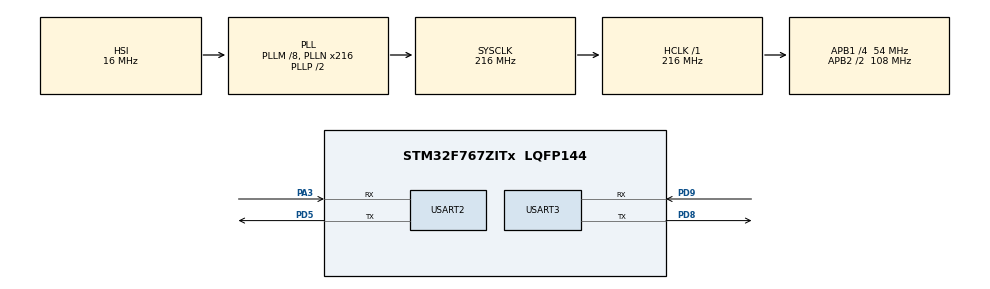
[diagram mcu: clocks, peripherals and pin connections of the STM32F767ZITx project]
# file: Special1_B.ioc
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CORTEX_M7.default_mode_Activation=1
Mcu.Family=STM32F7
Mcu.Name=STM32F767ZITx
Mcu.Package=LQFP144
NVIC.PriorityGroup=NVIC_PRIORITYGROUP_4
NVIC.USART2_IRQn=true\:0\:0\:false\:false\:true\:true\:true\:true
NVIC.USART3_IRQn=true\:0\:0\:false\:false\:true\:true\:true\:true
PA3.Mode=Asynchronous
PA3.Signal=USART2_RX
PD5.Mode=Asynchronous
PD5.Signal=USART2_TX
PD8.Mode=Asynchronous
PD8.Signal=USART3_TX
PD9.Mode=Asynchronous
PD9.Signal=USART3_RX
ProjectManager.HeapSize=0x200
ProjectManager.StackSize=0x400
ProjectManager.TargetToolchain=STM32CubeIDE
RCC.AHBFreq_Value=216000000
RCC.APB1CLKDivider=RCC_HCLK_DIV4
RCC.APB1Freq_Value=54000000
RCC.APB1TimFreq_Value=108000000
RCC.APB2CLKDivider=RCC_HCLK_DIV2
RCC.APB2Freq_Value=108000000
RCC.APB2TimFreq_Value=216000000
RCC.CortexFreq_Value=216000000
RCC.HCLKFreq_Value=216000000
RCC.HSE_VALUE=25000000
RCC.HSI_VALUE=16000000
RCC.LSE_VALUE=32768
RCC.PLLM=8
RCC.PLLN=216
RCC.SYSCLKFreq_VALUE=216000000
RCC.SYSCLKSource=RCC_SYSCLKSOURCE_PLLCLK
RCC.USBFreq_Value=216000000
RCC.VCOOutputFreq_Value=432000000
USART2.VirtualMode-Asynchronous=VM_ASYNC
USART3.VirtualMode-Asynchronous=VM_ASYNC
board=custom

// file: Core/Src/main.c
/* USER CODE BEGIN Header */
/**
  ******************************************************************************
  * @file           : main.c
  * @brief          : Main program body
  ******************************************************************************
  * @attention
  *
  * Copyright (c) 2026 STMicroelectronics.
  * All rights reserved.
  *
  * This software is licensed under terms that can be found in the LICENSE file
  * in the root directory of this software component.
  * If no LICENSE file comes with this software, it is provided AS-IS.
  *
  ******************************************************************************
  */
/* USER CODE END Header */
#include "main.h"

/* USER CODE BEGIN Includes */
#include "string.h"
/* USER CODE END Includes */

UART_HandleTypeDef huart2;
UART_HandleTypeDef huart3;
/* USER CODE BEGIN PV */
// --- ตัวแปรรับค่า (แยกกันชัดเจน) ---
uint8_t rx2; // รับจาก Board 1 (UART2)
uint8_t rx3; // รับจาก PC (UART3)

// --- Buffer (แยกกันชัดเจน) ---
char rx_buffer2[50]; // ข้อมูลจากเพื่อน
char rx_buffer3[50]; // ข้อมูลจากคีย์บอร์ดเรา

// --- Index ---
volatile uint8_t rx_index2 = 0;
volatile uint8_t rx_index3 = 0;

// --- Flags ---
volatile uint8_t input_complete = 0;   // เราพิมพ์เสร็จ
volatile uint8_t receive_complete = 0; // เพื่อนส่งมาเสร็จ

// ตัวแปรเก็บชื่อ
char user_name[50];  // ชื่อเพื่อน (ที่รับมา)
char my_name[50];    // ชื่อเรา (ที่พิมพ์เอง)

// ข้อความ
char start_msg[]   = "Man from U.A.R.T.2!\r\n";
char quit_msg[]    = "Quit PRESS q\r\n";
char blank[]       = "        ";
char name_msg[]    = "Name: ";
char prompt[] = " => ";

typedef enum {
	Wait_Ready, // รอเพื่อนทักมาก่อน
	Wait_Name,  // ถึงตาเราพิมพ์ชื่อ
	Wait_Msg,   // เริ่มแชท
	Ready,
} SystemState;

SystemState currentState = Wait_Ready; // เริ่มต้นด้วยการรอ
/* USER CODE END PV */

void SystemClock_Config(void);
static void MPU_Config(void);
static void MX_GPIO_Init(void);
static void MX_USART2_UART_Init(void);
static void MX_USART3_UART_Init(void);

int main(void)
{

  /* MPU Configuration--------------------------------------------------------*/
  MPU_Config();

  /* MCU Configuration--------------------------------------------------------*/

  /* Reset of all peripherals, Initializes the Flash interface and the Systick. */
  HAL_Init();

  /* Configure the system clock */
  SystemClock_Config();

  /* Initialize all configured peripherals */
  MX_GPIO_Init();
  MX_USART2_UART_Init();
  MX_USART3_UART_Init();
  /* USER CODE BEGIN 2 */
    // เริ่มดักฟัง (แยกตัวแปร)
  HAL_UART_Receive_IT(&huart2, &rx2, 1);
  HAL_UART_Receive_IT(&huart3, &rx3, 1);

  // Print ข้อความต้อนรับ
  HAL_UART_Transmit(&huart3, (uint8_t*)start_msg, strlen(start_msg), HAL_MAX_DELAY);
  HAL_UART_Transmit(&huart3, (uint8_t*)quit_msg, strlen(quit_msg), HAL_MAX_DELAY);
  /* USER CODE END 2 */

  /* Infinite loop */
  while (1)
  {

    /* USER CODE BEGIN 3 */
	  switch (currentState)
	  {

	  	  case Wait_Ready:
	  		  if (receive_complete)
	  		  {
	  			strcpy(user_name, rx_buffer2);
	  			HAL_UART_Transmit(&huart3, (uint8_t*)blank, strlen(blank), HAL_MAX_DELAY);
	  			HAL_UART_Transmit(&huart3, (uint8_t*)user_name, strlen(user_name), HAL_MAX_DELAY);
	  			HAL_UART_Transmit(&huart3, (uint8_t*)" is ready\r\n", strlen(" is ready\r\n") , HAL_MAX_DELAY);
	  			HAL_UART_Transmit(&huart3, (uint8_t*)blank, strlen(blank), HAL_MAX_DELAY);
				HAL_UART_Transmit(&huart3, (uint8_t*)name_msg, strlen(name_msg), HAL_MAX_DELAY);
	  			memset(rx_buffer2, 0, sizeof(rx_buffer2));
	  			rx_index2 = 0;
	  			receive_complete = 0;
	  			currentState = Wait_Name;
	  		  }
	  		  break;

	  	  case Wait_Name:
	  		if (input_complete == 1)
				{
					strcpy(my_name, rx_buffer3);
					HAL_UART_Transmit(&huart2, (uint8_t*)my_name, strlen(my_name), 100);
                    HAL_UART_Transmit(&huart2, (uint8_t*)"\n", 1, 100);
                    memset(rx_buffer3, 0, sizeof(rx_buffer3));
					rx_index3 = 0;
					input_complete = 0;
					currentState = Ready;
				}
	  		  break;

	  	  case Ready:
	  		  if (receive_complete){
				  HAL_UART_Transmit(&huart3, (uint8_t*)blank, strlen(blank), HAL_MAX_DELAY);
				  HAL_UART_Transmit(&huart3, (uint8_t*)user_name, strlen(user_name), 100);
				  HAL_UART_Transmit(&huart3, (uint8_t*)" : ", strlen(" : "), 100);
				  HAL_UART_Transmit(&huart3, (uint8_t*)rx_buffer2, strlen(rx_buffer2), HAL_MAX_DELAY);
				  HAL_UART_Transmit(&huart3, (uint8_t*)"\r\n", 2, 10);
				  HAL_UART_Transmit(&huart3, (uint8_t*)blank, strlen(blank), HAL_MAX_DELAY);
				  HAL_UART_Transmit(&huart3, (uint8_t*)my_name, strlen(my_name), 100);
				  HAL_UART_Transmit(&huart3, (uint8_t*)prompt, strlen(prompt), 100);
				  memset(rx_buffer2, 0, sizeof(rx_buffer2));
				  rx_index2 = 0;
				  receive_complete = 0;
				  currentState = Wait_Msg;

	  		  }

	  		  break;

	  	  case Wait_Msg:
			  if(input_complete == 1)
			  {
				HAL_UART_Transmit(&huart2, (uint8_t*)rx_buffer3, strlen(rx_buffer3), 100);
				HAL_UART_Transmit(&huart2, (uint8_t*)"\n", 1, 100);
				memset(rx_buffer3, 0, sizeof(rx_buffer3));
				rx_index3 = 0;
				input_complete = 0;
				currentState = Ready;
			  }
			  break;

	  }
  }
  /* USER CODE END 3 */
}

void SystemClock_Config(void)
{
  RCC_OscInitTypeDef RCC_OscInitStruct = {0};
  RCC_ClkInitTypeDef RCC_ClkInitStruct = {0};

  /** Configure the main internal regulator output voltage
  */
  __HAL_RCC_PWR_CLK_ENABLE();
  __HAL_PWR_VOLTAGESCALING_CONFIG(PWR_REGULATOR_VOLTAGE_SCALE1);

  /** Initializes the RCC Oscillators according to the specified parameters
  * in the RCC_OscInitTypeDef structure.
  */
  RCC_OscInitStruct.OscillatorType = RCC_OSCILLATORTYPE_HSI;
  RCC_OscInitStruct.HSIState = RCC_HSI_ON;
  RCC_OscInitStruct.HSICalibrationValue = RCC_HSICALIBRATION_DEFAULT;
  RCC_OscInitStruct.PLL.PLLState = RCC_PLL_ON;
  RCC_OscInitStruct.PLL.PLLSource = RCC_PLLSOURCE_HSI;
  RCC_OscInitStruct.PLL.PLLM = 8;
  RCC_OscInitStruct.PLL.PLLN = 216;
  RCC_OscInitStruct.PLL.PLLP = RCC_PLLP_DIV2;
  RCC_OscInitStruct.PLL.PLLQ = 2;
  RCC_OscInitStruct.PLL.PLLR = 2;
  if (HAL_RCC_OscConfig(&RCC_OscInitStruct) != HAL_OK)
  {
    Error_Handler();
  }

  /** Activate the Over-Drive mode
  */
  if (HAL_PWREx_EnableOverDrive() != HAL_OK)
  {
    Error_Handler();
  }

  /** Initializes the CPU, AHB and APB buses clocks
  */
  RCC_ClkInitStruct.ClockType = RCC_CLOCKTYPE_HCLK|RCC_CLOCKTYPE_SYSCLK
                              |RCC_CLOCKTYPE_PCLK1|RCC_CLOCKTYPE_PCLK2;
  RCC_ClkInitStruct.SYSCLKSource = RCC_SYSCLKSOURCE_PLLCLK;
  RCC_ClkInitStruct.AHBCLKDivider = RCC_SYSCLK_DIV1;
  RCC_ClkInitStruct.APB1CLKDivider = RCC_HCLK_DIV4;
  RCC_ClkInitStruct.APB2CLKDivider = RCC_HCLK_DIV2;

  if (HAL_RCC_ClockConfig(&RCC_ClkInitStruct, FLASH_LATENCY_7) != HAL_OK)
  {
    Error_Handler();
  }
}

static void MX_USART2_UART_Init(void)
{

  huart2.Instance = USART2;
  huart2.Init.BaudRate = 115200;
  huart2.Init.WordLength = UART_WORDLENGTH_8B;
  huart2.Init.StopBits = UART_STOPBITS_1;
  huart2.Init.Parity = UART_PARITY_NONE;
  huart2.Init.Mode = UART_MODE_TX_RX;
  huart2.Init.HwFlowCtl = UART_HWCONTROL_NONE;
  huart2.Init.OverSampling = UART_OVERSAMPLING_16;
  huart2.Init.OneBitSampling = UART_ONE_BIT_SAMPLE_DISABLE;
  huart2.AdvancedInit.AdvFeatureInit = UART_ADVFEATURE_NO_INIT;
  if (HAL_UART_Init(&huart2) != HAL_OK)
  {
    Error_Handler();
  }

}

static void MX_USART3_UART_Init(void)
{

  huart3.Instance = USART3;
  huart3.Init.BaudRate = 115200;
  huart3.Init.WordLength = UART_WORDLENGTH_8B;
  huart3.Init.StopBits = UART_STOPBITS_1;
  huart3.Init.Parity = UART_PARITY_NONE;
  huart3.Init.Mode = UART_MODE_TX_RX;
  huart3.Init.HwFlowCtl = UART_HWCONTROL_NONE;
  huart3.Init.OverSampling = UART_OVERSAMPLING_16;
  huart3.Init.OneBitSampling = UART_ONE_BIT_SAMPLE_DISABLE;
  huart3.AdvancedInit.AdvFeatureInit = UART_ADVFEATURE_NO_INIT;
  if (HAL_UART_Init(&huart3) != HAL_OK)
  {
    Error_Handler();
  }

}

static void MX_GPIO_Init(void)
{

  /* GPIO Ports Clock Enable */
  __HAL_RCC_GPIOA_CLK_ENABLE();
  __HAL_RCC_GPIOD_CLK_ENABLE();

}

/* USER CODE BEGIN 4 */

/* USER CODE BEGIN 4 */
void HAL_UART_RxCpltCallback(UART_HandleTypeDef *huart)
{
	// --- ส่วนของ UART3 (รับจากคีย์บอร์ดเรา) ---
	if (huart->Instance == USART3)
	{
		if (rx3 == 'q' && rx_index3 == 0 )
		{
			HAL_UART_Transmit(&huart3, (uint8_t*)"\r\nQuit Program.\r\n", 15, 100);
			HAL_UART_Transmit(&huart2, (uint8_t*)"~", 1, 100);
			__disable_irq(); // ปิด Interrupt ทั้งหมดเพื่อความปลอดภัย
			while(1)
			{

			}
		}
		// จบเมื่อเจอ Enter (\r หรือ \n)
		if (rx3 == '\r' || rx3 == '\n')
		{
			if (rx_index3 > 0)
			{
				rx_buffer3[rx_index3] = '\0'; // ปิดท้าย String
				input_complete = 1;           // ยกธง
				rx_index3 = 0;                // รีเซ็ต index
				HAL_UART_Transmit(&huart3, (uint8_t*)"\r\n", 2, 10);
			}
		}
		else
		{
			if (rx_index3 < 49) rx_buffer3[rx_index3++] = rx3;

		}
		HAL_UART_Receive_IT(&huart3, &rx3, 1); // รอรับตัวต่อไป
	}

	// --- ส่วนของ UART1 (รับจากอีกบอร์ด) ---
	if (huart->Instance == USART2)
	{
		if (rx2 == '~')
		{
			 HAL_UART_Transmit(&huart3, (uint8_t*)"\r\n[System] Partner disconnected.\r\n", 34, 100);
			 __disable_irq();
			 while(1);
		}
		// สมมติว่าตกลงกันว่า "ส่งจบจะตามด้วย \n เสมอ"
		if (rx2 == '\n')
		{
			if (rx_index2 > 0)
			{
				rx_buffer2[rx_index2] = '\0'; // ปิดท้าย String
				receive_complete = 1;         // ยกธงว่าเพื่อนส่งมาแล้ว
				rx_index2 = 0;
			}
		}
		else
		{
			// เก็บข้อมูลถ้าไม่ใช่ \n (และกันขยะ \r)
			if (rx2 != '\r' && rx_index2 < 49)
			{
				rx_buffer2[rx_index2++] = rx2;
			}
		}
		HAL_UART_Receive_IT(&huart2, &rx2, 1); // รอรับตัวต่อไป
	}
}
/* USER CODE END 4 */
/* USER CODE END 4 */

 /* MPU Configuration */

void MPU_Config(void)
{
  MPU_Region_InitTypeDef MPU_InitStruct = {0};

  /* Disables the MPU */
  HAL_MPU_Disable();

  /** Initializes and configures the Region and the memory to be protected
  */
  MPU_InitStruct.Enable = MPU_REGION_ENABLE;
  MPU_InitStruct.Number = MPU_REGION_NUMBER0;
  MPU_InitStruct.BaseAddress = 0x0;
  MPU_InitStruct.Size = MPU_REGION_SIZE_4GB;
  MPU_InitStruct.SubRegionDisable = 0x87;
  MPU_InitStruct.TypeExtField = MPU_TEX_LEVEL0;
  MPU_InitStruct.AccessPermission = MPU_REGION_NO_ACCESS;
  MPU_InitStruct.DisableExec = MPU_INSTRUCTION_ACCESS_DISABLE;
  MPU_InitStruct.IsShareable = MPU_ACCESS_SHAREABLE;
  MPU_InitStruct.IsCacheable = MPU_ACCESS_NOT_CACHEABLE;
  MPU_InitStruct.IsBufferable = MPU_ACCESS_NOT_BUFFERABLE;

  HAL_MPU_ConfigRegion(&MPU_InitStruct);
  /* Enables the MPU */
  HAL_MPU_Enable(MPU_PRIVILEGED_DEFAULT);

}

void Error_Handler(void)
{
  __disable_irq();
  while (1)
  {
  }
}
